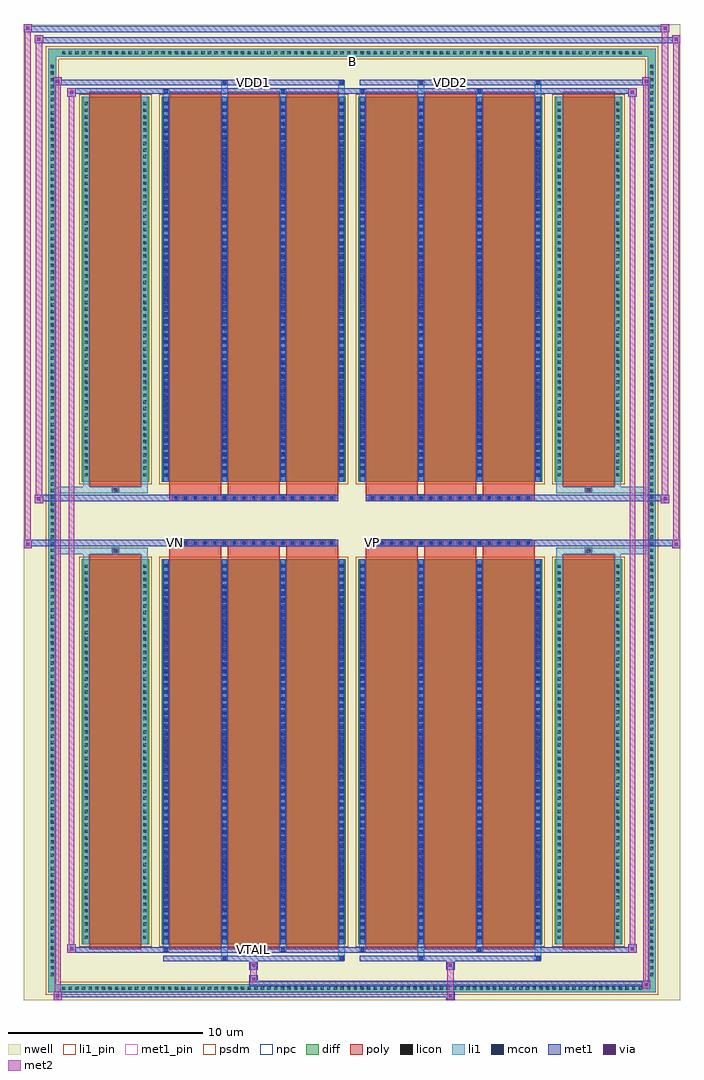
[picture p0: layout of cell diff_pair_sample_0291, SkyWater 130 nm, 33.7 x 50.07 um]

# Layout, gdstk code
import gdstk
lib = gdstk.Library(unit=1e-6, precision=5e-09)
def R(c, l, rs):  # rectangles x0, y0, x1, y1
    for r in rs: c.add(gdstk.rectangle(r[:2], r[2:], *l))
def A(c, l, x, y, w, h, nx, ny, dx, dy):  # array of equal rectangles
    R(c, l, [(x+i*dx, y+j*dy, x+i*dx+w, y+j*dy+h) for i in range(nx) for j in range(ny)])
def P(c, l, *ps):  # polygons
    for p in ps: c.add(gdstk.Polygon(p, *l))
nwell = (64, 20)
diff = (65, 20)
poly = (66, 20)
licon = (66, 44)
li1_pin = (67, 16)
li1 = (67, 20)
mcon = (67, 44)
met1_pin = (68, 16)
met1 = (68, 20)
via = (68, 44)
met2 = (69, 20)
psdm = (94, 20)
npc = (95, 20)

diff_pair_sample_0291 = lib.new_cell('diff_pair_sample_0291')
R(diff_pair_sample_0291, nwell, [(-16.85,-24.6,16.85,25.47), (-14.17,-22.79,-0.01,-0.795), (0.01,-22.79,14.17,-0.795), (-14.17,0.795,-0.01,22.79), (0.01,0.795,14.17,22.79)])
A(diff_pair_sample_0291, diff, -14.995, -24.2, 0.41, 0.41, 88, 2, 0.34, 47.99)
A(diff_pair_sample_0291, diff, -15.58, -23.495, 0.41, 0.41, 1, 138, 0, 0.34)
A(diff_pair_sample_0291, diff, 15.17, -23.495, 0.41, 0.41, 1, 138, 0, 0.34)
R(diff_pair_sample_0291, diff, [(-14.995,-24.2,14.995,-23.79), (-15.58,-23.495,-15.17,23.495), (15.17,-23.495,15.58,23.495), (-13.86,-21.745,-10.41,-1.985), (-9.77,-21.745,-0.32,-1.985), (0.32,-21.745,9.77,-1.985), (10.41,-21.745,13.86,-1.985), (-13.86,1.985,-10.41,21.745), (-9.77,1.985,-0.32,21.745), (0.32,1.985,9.77,21.745), (10.41,1.985,13.86,21.745), (-14.995,23.79,14.995,24.2)])
P(diff_pair_sample_0291, diff, [(15.58,24.2),(-15.58,24.2),(-15.58,-23.79),(-15.17,-23.79),(-15.17,23.79),(15.17,23.79),(15.17,-23.79),(-15.17,-23.79),(-15.58,-23.79),(-15.58,-24.2),(15.58,-24.2)])
A(diff_pair_sample_0291, poly, -9.38, -21.995, 2.67, 20.26, 3, 2, 3, 23.73)
A(diff_pair_sample_0291, poly, 0.71, -21.995, 2.67, 20.26, 3, 2, 3, 23.73)
A(diff_pair_sample_0291, poly, -9.38, -1.735, 2.67, 0.41, 3, 2, 3, 3.06)
A(diff_pair_sample_0291, poly, 0.71, -1.735, 2.67, 0.41, 3, 2, 3, 3.06)
A(diff_pair_sample_0291, poly, -9.21, -1.325, 0.33, 0.33, 17, 2, 0.5, 2.32)
A(diff_pair_sample_0291, poly, 0.88, -1.325, 0.33, 0.33, 17, 2, 0.5, 2.32)
R(diff_pair_sample_0291, poly, [(-13.47,-21.995,-10.8,-1.735), (10.8,-21.995,13.47,-1.735), (-12.3,-1.735,-11.97,-1.405), (-12.3,-1.735,-11.97,-1.405), (11.97,-1.735,12.3,-1.405), (11.97,-1.735,12.3,-1.405), (-9.38,-1.325,-0.71,-0.995), (0.71,-1.325,9.38,-0.995), (-9.38,0.995,-0.71,1.325), (0.71,0.995,9.38,1.325), (-12.3,1.405,-11.97,1.735), (-12.3,1.405,-11.97,1.735), (11.97,1.405,12.3,1.735), (11.97,1.405,12.3,1.735), (-13.47,1.735,-10.8,21.995), (10.8,1.735,13.47,21.995)])
A(diff_pair_sample_0291, licon, -14.875, -24.08, 0.17, 0.17, 88, 2, 0.34, 47.99)
A(diff_pair_sample_0291, licon, -15.46, -23.375, 0.17, 0.17, 1, 138, 0, 0.34)
A(diff_pair_sample_0291, licon, 15.29, -23.375, 0.17, 0.17, 1, 138, 0, 0.34)
A(diff_pair_sample_0291, licon, -13.72, -21.47, 0.17, 0.17, 1, 57, 0, 0.34)
A(diff_pair_sample_0291, licon, -10.72, -21.47, 0.17, 0.17, 1, 57, 0, 0.34)
A(diff_pair_sample_0291, licon, -9.63, -21.47, 0.17, 0.17, 4, 57, 3, 0.34)
A(diff_pair_sample_0291, licon, 0.46, -21.47, 0.17, 0.17, 4, 57, 3, 0.34)
A(diff_pair_sample_0291, licon, 10.55, -21.47, 0.17, 0.17, 1, 57, 0, 0.34)
A(diff_pair_sample_0291, licon, 13.55, -21.47, 0.17, 0.17, 1, 57, 0, 0.34)
A(diff_pair_sample_0291, licon, -9.13, -1.245, 0.17, 0.17, 17, 2, 0.5, 2.32)
A(diff_pair_sample_0291, licon, 0.96, -1.245, 0.17, 0.17, 17, 2, 0.5, 2.32)
A(diff_pair_sample_0291, licon, -13.72, 2.26, 0.17, 0.17, 1, 57, 0, 0.34)
A(diff_pair_sample_0291, licon, -10.72, 2.26, 0.17, 0.17, 1, 57, 0, 0.34)
A(diff_pair_sample_0291, licon, -9.63, 2.26, 0.17, 0.17, 4, 57, 3, 0.34)
A(diff_pair_sample_0291, licon, 0.46, 2.26, 0.17, 0.17, 4, 57, 3, 0.34)
A(diff_pair_sample_0291, licon, 10.55, 2.26, 0.17, 0.17, 1, 57, 0, 0.34)
A(diff_pair_sample_0291, licon, 13.55, 2.26, 0.17, 0.17, 1, 57, 0, 0.34)
R(diff_pair_sample_0291, licon, [(-12.22,-1.655,-12.05,-1.485), (12.05,-1.655,12.22,-1.485), (-12.22,1.485,-12.05,1.655), (12.05,1.485,12.22,1.655)])
R(diff_pair_sample_0291, li1_pin, [(-0.25,23.29,0.25,23.79)])
A(diff_pair_sample_0291, li1, -14.955, -24.16, 0.33, 0.33, 88, 2, 0.34, 47.99)
A(diff_pair_sample_0291, li1, -15.54, -23.455, 0.33, 0.33, 1, 138, 0, 0.34)
A(diff_pair_sample_0291, li1, 15.21, -23.455, 0.33, 0.33, 1, 138, 0, 0.34)
A(diff_pair_sample_0291, li1, -9.71, -21.745, 0.33, 19.76, 4, 2, 3, 23.73)
A(diff_pair_sample_0291, li1, 0.38, -21.745, 0.33, 19.76, 4, 2, 3, 23.73)
A(diff_pair_sample_0291, li1, -13.8, -21.55, 0.33, 0.33, 1, 57, 0, 0.34)
A(diff_pair_sample_0291, li1, -10.8, -21.55, 0.33, 0.33, 1, 57, 0, 0.34)
A(diff_pair_sample_0291, li1, -9.71, -21.55, 0.33, 0.33, 4, 57, 3, 0.34)
A(diff_pair_sample_0291, li1, 0.38, -21.55, 0.33, 0.33, 4, 57, 3, 0.34)
A(diff_pair_sample_0291, li1, 10.47, -21.55, 0.33, 0.33, 1, 57, 0, 0.34)
A(diff_pair_sample_0291, li1, 13.47, -21.55, 0.33, 0.33, 1, 57, 0, 0.34)
A(diff_pair_sample_0291, li1, -9.63, -21.49, 0.17, 0.17, 4, 54, 3, 0.36)
A(diff_pair_sample_0291, li1, -9.63, -21.49, 0.17, 19.25, 4, 2, 3, 23.73)
A(diff_pair_sample_0291, li1, 0.46, -21.49, 0.17, 0.17, 4, 54, 3, 0.36)
A(diff_pair_sample_0291, li1, 0.46, -21.49, 0.17, 19.25, 4, 2, 3, 23.73)
A(diff_pair_sample_0291, li1, -9.21, -1.325, 0.33, 0.33, 17, 2, 0.5, 2.32)
A(diff_pair_sample_0291, li1, 0.88, -1.325, 0.33, 0.33, 17, 2, 0.5, 2.32)
A(diff_pair_sample_0291, li1, -13.8, 2.18, 0.33, 0.33, 1, 57, 0, 0.34)
A(diff_pair_sample_0291, li1, -10.8, 2.18, 0.33, 0.33, 1, 57, 0, 0.34)
A(diff_pair_sample_0291, li1, -9.71, 2.18, 0.33, 0.33, 4, 57, 3, 0.34)
A(diff_pair_sample_0291, li1, 0.38, 2.18, 0.33, 0.33, 4, 57, 3, 0.34)
A(diff_pair_sample_0291, li1, 10.47, 2.18, 0.33, 0.33, 1, 57, 0, 0.34)
A(diff_pair_sample_0291, li1, 13.47, 2.18, 0.33, 0.33, 1, 57, 0, 0.34)
A(diff_pair_sample_0291, li1, -9.63, 2.24, 0.17, 0.17, 4, 54, 3, 0.36)
A(diff_pair_sample_0291, li1, 0.46, 2.24, 0.17, 0.17, 4, 54, 3, 0.36)
R(diff_pair_sample_0291, li1, [(-15.58,-24.2,-15.17,-23.79), (-15.58,-24.2,-15.17,-23.79), (-15.17,-24.2,15.17,-23.79), (15.17,-24.2,15.58,-23.79), (15.17,-24.2,15.58,-23.79), (-15.58,-23.79,-15.17,23.79), (15.17,-23.79,15.58,23.79), (-6.71,-22.55,-6.38,-21.745), (-6.63,-22.55,-6.46,-22.38), (-0.71,-22.55,-0.38,-21.745), (-0.63,-22.55,-0.46,-22.38), (3.38,-22.55,3.71,-21.745), (3.46,-22.55,3.63,-22.38), (9.38,-22.55,9.71,-21.745), (9.46,-22.55,9.63,-22.38), (-9.71,-22.12,-9.38,-21.745), (-9.63,-22.12,-9.46,-21.95), (-3.71,-22.12,-3.38,-21.745), (-3.63,-22.12,-3.46,-21.95), (0.38,-22.12,0.71,-21.745), (0.46,-22.12,0.63,-21.95), (6.38,-22.12,6.71,-21.745), (6.46,-22.12,6.63,-21.95), (-13.8,-21.745,-13.47,-1.985), (-10.8,-21.745,-10.47,-1.985), (10.47,-21.745,10.8,-1.985), (13.47,-21.745,13.8,-1.985), (-13.8,-1.985,-13.47,-1.405), (-10.8,-1.985,-10.47,-1.405), (10.47,-1.985,10.8,-1.405), (13.47,-1.985,13.8,-1.405), (-15.58,-1.735,-12.3,-1.405), (-13.8,-1.735,-12.3,-1.405), (-12.3,-1.735,-11.97,-1.405), (-11.97,-1.735,-10.47,-1.405), (10.47,-1.735,11.97,-1.405), (11.97,-1.735,12.3,-1.405), (11.97,-1.735,15.58,-1.405), (12.3,-1.735,13.8,-1.405), (-15.58,1.405,-12.3,1.735), (-13.8,1.405,-12.3,1.735), (-13.8,1.405,-13.47,1.985), (-12.3,1.405,-11.97,1.735), (-11.97,1.405,-10.47,1.735), (-10.8,1.405,-10.47,1.985), (10.47,1.405,11.97,1.735), (10.47,1.405,10.8,1.985), (11.97,1.405,12.3,1.735), (11.97,1.405,15.58,1.735), (12.3,1.405,13.8,1.735), (13.47,1.405,13.8,1.985), (-13.8,1.985,-13.47,21.745), (-10.8,1.985,-10.47,21.745), (10.47,1.985,10.8,21.745), (13.47,1.985,13.8,21.745), (-9.71,21.745,-9.38,22.12), (-6.71,21.745,-6.38,22.55), (-3.71,21.745,-3.38,22.12), (-0.71,21.745,-0.38,22.55), (0.38,21.745,0.71,22.12), (3.38,21.745,3.71,22.55), (6.38,21.745,6.71,22.12), (9.38,21.745,9.71,22.55), (-9.63,21.95,-9.46,22.12), (-3.63,21.95,-3.46,22.12), (0.46,21.95,0.63,22.12), (6.46,21.95,6.63,22.12), (-6.63,22.38,-6.46,22.55), (-0.63,22.38,-0.46,22.55), (3.46,22.38,3.63,22.55), (9.46,22.38,9.63,22.55), (-15.58,23.79,-15.17,24.2), (-15.58,23.79,-15.17,24.2), (-15.17,23.79,15.17,24.2), (15.17,23.79,15.58,24.2), (15.17,23.79,15.58,24.2)])
A(diff_pair_sample_0291, mcon, -9.63, -21.49, 0.17, 0.17, 4, 54, 3, 0.36)
A(diff_pair_sample_0291, mcon, 0.46, -21.49, 0.17, 0.17, 4, 54, 3, 0.36)
A(diff_pair_sample_0291, mcon, -9.13, -1.245, 0.17, 0.17, 17, 2, 0.5, 2.32)
A(diff_pair_sample_0291, mcon, 0.96, -1.245, 0.17, 0.17, 17, 2, 0.5, 2.32)
A(diff_pair_sample_0291, mcon, -9.63, 2.24, 0.17, 0.17, 4, 54, 3, 0.36)
A(diff_pair_sample_0291, mcon, 0.46, 2.24, 0.17, 0.17, 4, 54, 3, 0.36)
R(diff_pair_sample_0291, mcon, [(-6.63,-22.55,-6.46,-22.38), (-0.63,-22.55,-0.46,-22.38), (3.46,-22.55,3.63,-22.38), (9.46,-22.55,9.63,-22.38), (-9.63,-22.12,-9.46,-21.95), (-3.63,-22.12,-3.46,-21.95), (0.46,-22.12,0.63,-21.95), (6.46,-22.12,6.63,-21.95), (-9.63,21.95,-9.46,22.12), (-3.63,21.95,-3.46,22.12), (0.46,21.95,0.63,22.12), (6.46,21.95,6.63,22.12), (-6.63,22.38,-6.46,22.55), (-0.63,22.38,-0.46,22.55), (3.46,22.38,3.63,22.55), (9.46,22.38,9.63,22.55)])
R(diff_pair_sample_0291, met1_pin, [(-5.18,-22.16,-4.91,-21.89), (-9.18,-1.285,-8.91,-1.015), (0.91,-1.285,1.18,-1.015), (-5.18,22.34,-4.91,22.61), (4.91,22.34,5.18,22.61)])
A(diff_pair_sample_0291, met1, -9.69, -21.745, 0.29, 19.76, 4, 2, 3, 23.73)
A(diff_pair_sample_0291, met1, 0.4, -21.745, 0.29, 19.76, 4, 2, 3, 23.73)
A(diff_pair_sample_0291, met1, -9.69, -21.55, 0.29, 0.29, 4, 54, 3, 0.36)
A(diff_pair_sample_0291, met1, 0.4, -21.55, 0.29, 0.29, 4, 54, 3, 0.36)
A(diff_pair_sample_0291, met1, -9.19, -1.305, 0.29, 0.29, 17, 2, 0.5, 2.32)
A(diff_pair_sample_0291, met1, 0.9, -1.305, 0.29, 0.29, 17, 2, 0.5, 2.32)
A(diff_pair_sample_0291, met1, -9.69, 2.18, 0.29, 0.29, 4, 54, 3, 0.36)
A(diff_pair_sample_0291, met1, 0.4, 2.18, 0.29, 0.29, 4, 54, 3, 0.36)
R(diff_pair_sample_0291, met1, [(-15.31,-24.6,-14.88,-24.17), (4.83,-24.6,5.26,-24.17), (-15.31,-24.46,5.26,-24.17), (14.88,-24.03,15.31,-23.6), (-5.26,-23.89,15.31,-23.6), (-5.26,-23.75,-4.83,-23.32), (-5.26,-23.04,-4.83,-22.61), (4.83,-23.04,5.26,-22.61), (-9.69,-22.61,-0.4,-22.32), (-6.69,-22.61,-6.4,-22.32), (-0.69,-22.61,-0.4,-22.32), (0.4,-22.61,9.69,-22.32), (3.4,-22.61,3.69,-22.32), (9.4,-22.61,9.69,-22.32), (-14.6,-22.18,-14.17,-21.75), (-14.6,-22.18,-9.69,-21.89), (-9.69,-22.18,-9.4,-21.89), (-9.69,-22.18,-0.4,-21.89), (-3.69,-22.18,-3.4,-21.89), (-0.4,-22.18,0.4,-21.89), (0.4,-22.18,0.69,-21.89), (0.4,-22.18,9.69,-21.89), (6.4,-22.18,6.69,-21.89), (9.69,-22.18,14.6,-21.89), (14.17,-22.18,14.6,-21.75), (-16.85,-1.425,-16.42,-0.995), (16.42,-1.425,16.85,-0.995), (-16.85,-1.325,-0.71,-0.995), (-9.38,-1.325,-0.71,-0.995), (0.71,-1.325,9.38,-0.995), (0.71,-1.325,16.85,-0.995), (-16.28,0.895,-15.85,1.325), (15.85,0.895,16.28,1.325), (-16.28,0.995,-9.38,1.325), (-9.38,0.995,-0.71,1.325), (0.71,0.995,9.38,1.325), (9.38,0.995,16.28,1.325), (-14.6,21.75,-14.17,22.18), (14.17,21.75,14.6,22.18), (-14.6,21.89,-9.69,22.18), (-9.69,21.89,-9.4,22.18), (-9.69,21.89,-0.4,22.18), (-3.69,21.89,-3.4,22.18), (-0.4,21.89,0.4,22.18), (0.4,21.89,0.69,22.18), (0.4,21.89,9.69,22.18), (6.4,21.89,6.69,22.18), (9.69,21.89,14.6,22.18), (-15.31,22.32,-14.88,22.75), (-15.31,22.32,-9.69,22.61), (-9.69,22.32,-0.4,22.61), (-6.69,22.32,-6.4,22.61), (-0.69,22.32,-0.4,22.61), (0.4,22.32,9.69,22.61), (3.4,22.32,3.69,22.61), (9.4,22.32,9.69,22.61), (9.69,22.32,15.31,22.61), (14.88,22.32,15.31,22.75), (-16.28,24.47,-15.85,24.9), (-16.28,24.47,-14.17,24.8), (-14.17,24.47,14.17,24.8), (14.17,24.47,16.85,24.8), (16.42,24.47,16.85,24.9), (-16.85,25.04,-16.42,25.47), (-16.85,25.04,-14.17,25.37), (-14.17,25.04,14.17,25.37), (14.17,25.04,16.28,25.37), (15.85,25.04,16.28,25.47)])
R(diff_pair_sample_0291, via, [(-15.17,-24.46,-15.02,-24.31), (4.97,-24.46,5.12,-24.31), (15.02,-23.89,15.17,-23.74), (-5.12,-23.61,-4.97,-23.46), (-5.12,-22.9,-4.97,-22.75), (4.97,-22.9,5.12,-22.75), (-14.46,-22.04,-14.31,-21.89), (14.31,-22.04,14.46,-21.89), (-16.71,-1.285,-16.56,-1.135), (16.56,-1.285,16.71,-1.135), (-16.14,1.035,-15.99,1.185), (15.99,1.035,16.14,1.185), (-14.46,21.89,-14.31,22.04), (14.31,21.89,14.46,22.04), (-15.17,22.46,-15.02,22.61), (15.02,22.46,15.17,22.61), (-16.14,24.61,-15.99,24.76), (16.56,24.61,16.71,24.76), (-16.71,25.18,-16.56,25.33), (15.99,25.18,16.14,25.33)])
R(diff_pair_sample_0291, met2, [(-15.31,-24.6,-14.88,-24.17), (-15.24,-24.6,-14.95,22.75), (-14.95,-24.6,-14.88,-24.17), (-15.26,-24.55,-14.93,-24.22), (4.88,-24.55,5.21,-24.22), (4.88,-24.22,5.21,-22.99), (14.88,-24.03,15.31,-23.6), (14.95,-24.03,15.24,22.75), (15.24,-24.03,15.31,-23.6), (14.93,-23.98,15.26,-23.65), (-5.21,-23.7,-4.88,-23.37), (-5.21,-23.37,-4.88,-22.99), (-5.21,-22.99,-4.88,-22.66), (4.88,-22.99,5.21,-22.66), (-14.6,-22.18,-14.17,-21.75), (-14.53,-22.18,-14.24,22.18), (-14.24,-22.18,-14.17,-21.75), (14.17,-22.18,14.6,-21.75), (14.24,-22.18,14.53,22.18), (14.53,-22.18,14.6,-21.75), (-14.55,-22.13,-14.22,-21.8), (14.22,-22.13,14.55,-21.8), (-16.85,-1.425,-16.42,-0.995), (-16.8,-1.425,-16.47,25.47), (-16.47,-1.425,-16.42,-0.995), (16.42,-1.425,16.85,-0.995), (16.47,-1.425,16.8,24.9), (16.8,-1.425,16.85,-0.995), (-16.8,-1.375,-16.47,-1.045), (16.47,-1.375,16.8,-1.045), (-16.28,0.895,-15.85,1.325), (-16.23,0.895,-15.9,24.9), (-15.9,0.895,-15.85,1.325), (15.85,0.895,16.28,1.325), (15.9,0.895,16.23,25.47), (16.23,0.895,16.28,1.325), (-16.23,0.945,-15.9,1.275), (15.9,0.945,16.23,1.275), (-14.6,21.75,-14.17,22.18), (-14.24,21.75,-14.17,22.18), (14.17,21.75,14.6,22.18), (14.53,21.75,14.6,22.18), (-14.55,21.8,-14.22,22.13), (14.22,21.8,14.55,22.13), (-15.31,22.32,-14.88,22.75), (-14.95,22.32,-14.88,22.75), (14.88,22.32,15.31,22.75), (15.24,22.32,15.31,22.75), (-15.26,22.37,-14.93,22.7), (14.93,22.37,15.26,22.7), (-16.28,24.47,-15.85,24.9), (-15.9,24.47,-15.85,24.9), (16.42,24.47,16.85,24.9), (16.8,24.47,16.85,24.9), (-16.23,24.52,-15.9,24.85), (16.47,24.52,16.8,24.85), (-16.85,25.04,-16.42,25.47), (-16.47,25.04,-16.42,25.47), (15.85,25.04,16.28,25.47), (16.23,25.04,16.28,25.47), (-16.8,25.09,-16.47,25.42), (15.9,25.09,16.23,25.42)])
R(diff_pair_sample_0291, psdm, [(-13.99,-21.875,-10.28,-1.855), (-9.9,-21.875,-0.19,-1.855), (0.19,-21.875,9.9,-1.855), (10.28,-21.875,13.99,-1.855), (-13.99,1.855,-10.28,21.875), (-9.9,1.855,-0.19,21.875), (0.19,1.855,9.9,21.875), (10.28,1.855,13.99,21.875)])
P(diff_pair_sample_0291, psdm, [(15.71,24.33),(-15.71,24.33),(-15.71,-23.66),(-15.04,-23.66),(-15.04,23.66),(15.04,23.66),(15.04,-23.66),(-15.04,-23.66),(-15.71,-23.66),(-15.71,-24.33),(15.71,-24.33)])
A(diff_pair_sample_0291, npc, -9.23, -1.345, 0.37, 0.37, 17, 2, 0.5, 2.32)
A(diff_pair_sample_0291, npc, 0.86, -1.345, 0.37, 0.37, 17, 2, 0.5, 2.32)
R(diff_pair_sample_0291, npc, [(-12.32,-1.755,-11.95,-1.385), (11.95,-1.755,12.32,-1.385), (-9.23,-1.345,-8.36,-0.975), (-9.23,-1.345,-8.36,-0.975), (-8.73,-1.345,-7.86,-0.975), (-8.73,-1.345,-7.86,-0.975), (-8.23,-1.345,-7.36,-0.975), (-8.23,-1.345,-7.36,-0.975), (-7.73,-1.345,-6.86,-0.975), (-7.73,-1.345,-6.86,-0.975), (-7.23,-1.345,-6.36,-0.975), (-7.23,-1.345,-6.36,-0.975), (-6.73,-1.345,-5.86,-0.975), (-6.73,-1.345,-5.86,-0.975), (-6.23,-1.345,-5.36,-0.975), (-6.23,-1.345,-5.36,-0.975), (-5.73,-1.345,-4.86,-0.975), (-5.73,-1.345,-4.86,-0.975), (-5.23,-1.345,-4.36,-0.975), (-5.23,-1.345,-4.36,-0.975), (-4.73,-1.345,-3.86,-0.975), (-4.73,-1.345,-3.86,-0.975), (-4.23,-1.345,-3.36,-0.975), (-4.23,-1.345,-3.36,-0.975), (-3.73,-1.345,-2.86,-0.975), (-3.73,-1.345,-2.86,-0.975), (-3.23,-1.345,-2.36,-0.975), (-3.23,-1.345,-2.36,-0.975), (-2.73,-1.345,-1.86,-0.975), (-2.73,-1.345,-1.86,-0.975), (-2.23,-1.345,-1.36,-0.975), (-2.23,-1.345,-1.36,-0.975), (-1.73,-1.345,-0.86,-0.975), (-1.73,-1.345,-0.86,-0.975), (0.86,-1.345,1.73,-0.975), (0.86,-1.345,1.73,-0.975), (1.36,-1.345,2.23,-0.975), (1.36,-1.345,2.23,-0.975), (1.86,-1.345,2.73,-0.975), (1.86,-1.345,2.73,-0.975), (2.36,-1.345,3.23,-0.975), (2.36,-1.345,3.23,-0.975), (2.86,-1.345,3.73,-0.975), (2.86,-1.345,3.73,-0.975), (3.36,-1.345,4.23,-0.975), (3.36,-1.345,4.23,-0.975), (3.86,-1.345,4.73,-0.975), (3.86,-1.345,4.73,-0.975), (4.36,-1.345,5.23,-0.975), (4.36,-1.345,5.23,-0.975), (4.86,-1.345,5.73,-0.975), (4.86,-1.345,5.73,-0.975), (5.36,-1.345,6.23,-0.975), (5.36,-1.345,6.23,-0.975), (5.86,-1.345,6.73,-0.975), (5.86,-1.345,6.73,-0.975), (6.36,-1.345,7.23,-0.975), (6.36,-1.345,7.23,-0.975), (6.86,-1.345,7.73,-0.975), (6.86,-1.345,7.73,-0.975), (7.36,-1.345,8.23,-0.975), (7.36,-1.345,8.23,-0.975), (7.86,-1.345,8.73,-0.975), (7.86,-1.345,8.73,-0.975), (8.36,-1.345,9.23,-0.975), (8.36,-1.345,9.23,-0.975), (-9.23,0.975,-8.36,1.345), (-9.23,0.975,-8.36,1.345), (-8.73,0.975,-7.86,1.345), (-8.73,0.975,-7.86,1.345), (-8.23,0.975,-7.36,1.345), (-8.23,0.975,-7.36,1.345), (-7.73,0.975,-6.86,1.345), (-7.73,0.975,-6.86,1.345), (-7.23,0.975,-6.36,1.345), (-7.23,0.975,-6.36,1.345), (-6.73,0.975,-5.86,1.345), (-6.73,0.975,-5.86,1.345), (-6.23,0.975,-5.36,1.345), (-6.23,0.975,-5.36,1.345), (-5.73,0.975,-4.86,1.345), (-5.73,0.975,-4.86,1.345), (-5.23,0.975,-4.36,1.345), (-5.23,0.975,-4.36,1.345), (-4.73,0.975,-3.86,1.345), (-4.73,0.975,-3.86,1.345), (-4.23,0.975,-3.36,1.345), (-4.23,0.975,-3.36,1.345), (-3.73,0.975,-2.86,1.345), (-3.73,0.975,-2.86,1.345), (-3.23,0.975,-2.36,1.345), (-3.23,0.975,-2.36,1.345), (-2.73,0.975,-1.86,1.345), (-2.73,0.975,-1.86,1.345), (-2.23,0.975,-1.36,1.345), (-2.23,0.975,-1.36,1.345), (-1.73,0.975,-0.86,1.345), (-1.73,0.975,-0.86,1.345), (0.86,0.975,1.73,1.345), (0.86,0.975,1.73,1.345), (1.36,0.975,2.23,1.345), (1.36,0.975,2.23,1.345), (1.86,0.975,2.73,1.345), (1.86,0.975,2.73,1.345), (2.36,0.975,3.23,1.345), (2.36,0.975,3.23,1.345), (2.86,0.975,3.73,1.345), (2.86,0.975,3.73,1.345), (3.36,0.975,4.23,1.345), (3.36,0.975,4.23,1.345), (3.86,0.975,4.73,1.345), (3.86,0.975,4.73,1.345), (4.36,0.975,5.23,1.345), (4.36,0.975,5.23,1.345), (4.86,0.975,5.73,1.345), (4.86,0.975,5.73,1.345), (5.36,0.975,6.23,1.345), (5.36,0.975,6.23,1.345), (5.86,0.975,6.73,1.345), (5.86,0.975,6.73,1.345), (6.36,0.975,7.23,1.345), (6.36,0.975,7.23,1.345), (6.86,0.975,7.73,1.345), (6.86,0.975,7.73,1.345), (7.36,0.975,8.23,1.345), (7.36,0.975,8.23,1.345), (7.86,0.975,8.73,1.345), (7.86,0.975,8.73,1.345), (8.36,0.975,9.23,1.345), (8.36,0.975,9.23,1.345), (-12.32,1.385,-11.95,1.755), (11.95,1.385,12.32,1.755)])
diff_pair_sample_0291.add(gdstk.Label('VTAIL', (-5.045,-22.025), layer=68, texttype=5))
diff_pair_sample_0291.add(gdstk.Label('VN', (-9.045,-1.15), layer=68, texttype=5))
diff_pair_sample_0291.add(gdstk.Label('VP', (1.045,-1.15), layer=68, texttype=5))
diff_pair_sample_0291.add(gdstk.Label('B', (0,23.54), layer=67, texttype=5))
diff_pair_sample_0291.add(gdstk.Label('VDD2', (5.045,22.475), layer=68, texttype=5))
diff_pair_sample_0291.add(gdstk.Label('VDD1', (-5.045,22.475), layer=68, texttype=5))

lib.write_gds('diff_pair_sample_0291.gds')
